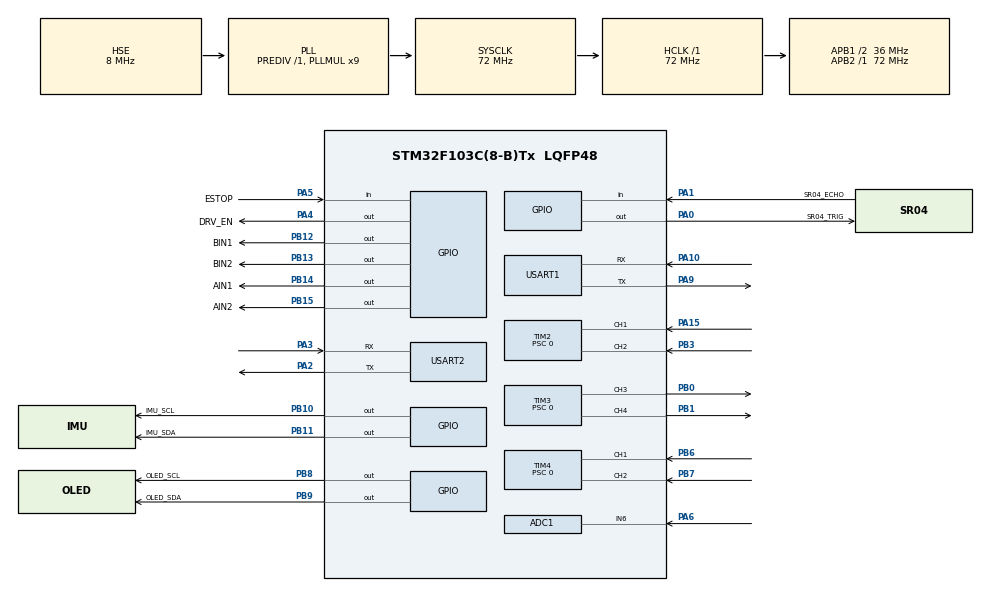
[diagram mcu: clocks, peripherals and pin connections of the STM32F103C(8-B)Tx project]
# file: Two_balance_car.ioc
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ADC1.Channel-0\#ChannelRegularConversion=ADC_CHANNEL_6
ADC1.ContinuousConvMode=DISABLE
ADC1.NbrOfConversion=1
ADC1.NbrOfConversionFlag=1
ADC1.Rank-0\#ChannelRegularConversion=1
ADC1.SamplingTime-0\#ChannelRegularConversion=ADC_SAMPLETIME_239CYCLES_5
ADC1.master=1
Dma.Request0=USART1_RX
Dma.Request1=USART1_TX
Dma.USART1_RX.0.Direction=DMA_PERIPH_TO_MEMORY
Dma.USART1_RX.0.Instance=DMA1_Channel5
Dma.USART1_RX.0.MemDataAlignment=DMA_MDATAALIGN_BYTE
Dma.USART1_RX.0.MemInc=DMA_MINC_ENABLE
Dma.USART1_RX.0.Mode=DMA_NORMAL
Dma.USART1_RX.0.PeriphDataAlignment=DMA_PDATAALIGN_BYTE
Dma.USART1_RX.0.PeriphInc=DMA_PINC_DISABLE
Dma.USART1_RX.0.Priority=DMA_PRIORITY_LOW
Dma.USART1_TX.1.Direction=DMA_MEMORY_TO_PERIPH
Dma.USART1_TX.1.Instance=DMA1_Channel4
Dma.USART1_TX.1.MemDataAlignment=DMA_MDATAALIGN_BYTE
Dma.USART1_TX.1.MemInc=DMA_MINC_ENABLE
Dma.USART1_TX.1.Mode=DMA_NORMAL
Dma.USART1_TX.1.PeriphDataAlignment=DMA_PDATAALIGN_BYTE
Dma.USART1_TX.1.PeriphInc=DMA_PINC_DISABLE
Dma.USART1_TX.1.Priority=DMA_PRIORITY_LOW
Mcu.Family=STM32F1
Mcu.Name=STM32F103C(8-B)Tx
Mcu.Package=LQFP48
NVIC.DMA1_Channel4_IRQn=true\:0\:0\:false\:false\:true\:false\:true\:true
NVIC.DMA1_Channel5_IRQn=true\:0\:0\:false\:false\:true\:false\:true\:true
NVIC.PriorityGroup=NVIC_PRIORITYGROUP_4
NVIC.TIM1_UP_IRQn=true\:1\:0\:false\:false\:true\:true\:true\:true
NVIC.USART1_IRQn=true\:3\:0\:false\:false\:true\:true\:true\:true
PA0-WKUP.GPIO_Label=SR04_TRIG
PA0-WKUP.Signal=GPIO_Output
PA1.GPIO_Label=SR04_ECHO
PA1.Signal=GPIO_Input
PA10.Mode=Asynchronous
PA10.Signal=USART1_RX
PA13.Mode=Serial_Wire
PA13.Signal=SYS_JTMS-SWDIO
PA14.Mode=Serial_Wire
PA14.Signal=SYS_JTCK-SWCLK
PA15.Signal=S_TIM2_CH1_ETR
PA2.Mode=Asynchronous
PA2.Signal=USART2_TX
PA3.Mode=Asynchronous
PA3.Signal=USART2_RX
PA4.GPIO_Label=DRV_EN
PA4.Signal=GPIO_Output
PA5.GPIO_Label=ESTOP
PA5.GPIO_PuPd=GPIO_PULLUP
PA5.Signal=GPIO_Input
PA6.Signal=ADCx_IN6
PA9.Mode=Asynchronous
PA9.Signal=USART1_TX
PB0.Signal=S_TIM3_CH3
PB1.Signal=S_TIM3_CH4
PB10.GPIO_Label=IMU_SCL
PB10.GPIO_Speed=GPIO_SPEED_FREQ_HIGH
PB10.Signal=GPIO_Output
PB11.GPIO_Label=IMU_SDA
PB11.GPIO_Speed=GPIO_SPEED_FREQ_HIGH
PB11.Signal=GPIO_Output
PB12.GPIO_Label=BIN1
PB12.GPIO_Speed=GPIO_SPEED_FREQ_HIGH
PB12.Signal=GPIO_Output
PB13.GPIO_Label=BIN2
PB13.GPIO_Speed=GPIO_SPEED_FREQ_HIGH
PB13.Signal=GPIO_Output
PB14.GPIO_Label=AIN1
PB14.GPIO_Speed=GPIO_SPEED_FREQ_HIGH
PB14.Signal=GPIO_Output
PB15.GPIO_Label=AIN2
PB15.GPIO_Speed=GPIO_SPEED_FREQ_HIGH
PB15.Signal=GPIO_Output
PB3.Signal=S_TIM2_CH2
PB6.Signal=S_TIM4_CH1
PB7.Signal=S_TIM4_CH2
PB8.GPIO_Label=OLED_SCL
PB8.GPIO_Speed=GPIO_SPEED_FREQ_HIGH
PB8.Signal=GPIO_Output
PB9.GPIO_Label=OLED_SDA
PB9.GPIO_Speed=GPIO_SPEED_FREQ_HIGH
PB9.Signal=GPIO_Output
PD0-OSC_IN.Mode=HSE-External-Oscillator
PD0-OSC_IN.Signal=RCC_OSC_IN
PD1-OSC_OUT.Mode=HSE-External-Oscillator
PD1-OSC_OUT.Signal=RCC_OSC_OUT
ProjectManager.HeapSize=0x200
ProjectManager.StackSize=0x400
ProjectManager.TargetToolchain=STM32CubeIDE
RCC.ADCPresc=RCC_ADCPCLK2_DIV6
RCC.AHBFreq_Value=72000000
RCC.APB1CLKDivider=RCC_HCLK_DIV2
RCC.APB1Freq_Value=36000000
RCC.APB1TimFreq_Value=72000000
RCC.APB2Freq_Value=72000000
RCC.APB2TimFreq_Value=72000000
RCC.HCLKFreq_Value=72000000
RCC.PLLMUL=RCC_PLL_MUL9
RCC.PLLSourceVirtual=RCC_PLLSOURCE_HSE
RCC.SYSCLKFreq_VALUE=72000000
RCC.SYSCLKSource=RCC_SYSCLKSOURCE_PLLCLK
RCC.USBFreq_Value=72000000
SH.ADCx_IN6.0=ADC1_IN6,IN6
SH.S_TIM2_CH1_ETR.0=TIM2_CH1,Encoder_Interface
SH.S_TIM2_CH2.0=TIM2_CH2,Encoder_Interface
SH.S_TIM3_CH3.0=TIM3_CH3,PWM Generation3 CH3
SH.S_TIM3_CH4.0=TIM3_CH4,PWM Generation4 CH4
SH.S_TIM4_CH1.0=TIM4_CH1,Encoder_Interface
SH.S_TIM4_CH2.0=TIM4_CH2,Encoder_Interface
TIM1.Period=49
TIM1.Prescaler=7199
TIM2.EncoderMode=TIM_ENCODERMODE_TI12
TIM2.IC1Filter=10
TIM2.IC1Polarity=TIM_ICPOLARITY_RISING
TIM2.IC2Filter=10
TIM2.IC2Polarity=TIM_ICPOLARITY_RISING
TIM2.Period=65535
TIM2.Prescaler=0
TIM3.Channel-PWM\ Generation3\ CH3=TIM_CHANNEL_3
TIM3.Channel-PWM\ Generation4\ CH4=TIM_CHANNEL_4
TIM3.Period=7199
TIM3.Prescaler=0
TIM3.Pulse-PWM\ Generation3\ CH3=0
TIM3.Pulse-PWM\ Generation4\ CH4=0
TIM4.EncoderMode=TIM_ENCODERMODE_TI12
TIM4.IC1Filter=10
TIM4.IC1Polarity=TIM_ICPOLARITY_RISING
TIM4.IC2Filter=10
TIM4.IC2Polarity=TIM_ICPOLARITY_RISING
TIM4.Period=65535
TIM4.Prescaler=0
USART1.VirtualMode=VM_ASYNC
USART2.VirtualMode=VM_ASYNC
VP_TIM1_VS_ClockSourceINT.Mode=Internal
VP_TIM3_VS_ClockSourceINT.Mode=Internal
board=custom

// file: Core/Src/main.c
/* USER CODE BEGIN Header */
/**
  ******************************************************************************
  * @file           : main.c
  * @brief          : Main program body
  ******************************************************************************
  * @attention
  *
  * Copyright (c) 2026 STMicroelectronics.
  * All rights reserved.
  *
  * This software is licensed under terms that can be found in the LICENSE file
  * in the root directory of this software component.
  * If no LICENSE file comes with this software, it is provided AS-IS.
  *
  ******************************************************************************
  */
/* USER CODE END Header */
#include "main.h"
#include "adc.h"
#include "dma.h"
#include "tim.h"
#include "usart.h"
#include "gpio.h"

/* USER CODE BEGIN Includes */
#include "app.h"
#include "board.h"
/* USER CODE END Includes */

/* USER CODE BEGIN PV */
static app_t g_app;
/* USER CODE END PV */

void SystemClock_Config(void);

int main(void)
{

  /* MCU Configuration--------------------------------------------------------*/

  /* Reset of all peripherals, Initializes the Flash interface and the Systick. */
  HAL_Init();

  /* Configure the system clock */
  SystemClock_Config();

  /* Initialize all configured peripherals */
  MX_GPIO_Init();
  MX_DMA_Init();
  MX_ADC1_Init();
  MX_TIM1_Init();
  MX_TIM2_Init();
  MX_TIM3_Init();
  MX_TIM4_Init();
  MX_USART1_UART_Init();
  MX_USART2_UART_Init();
  /* USER CODE BEGIN 2 */
  app_config_t app_config;

  if (board_build_hw_config(&app_config.hw) != HAL_OK)
  {
    Error_Handler();
  }
  if (app_logic_config_load_default(&app_config.logic) != HAL_OK)
  {
    Error_Handler();
  }

  if (app_init(&g_app, &app_config, HAL_GetTick()) != HAL_OK)
  {
    Error_Handler();
  }
  /* USER CODE END 2 */

  /* Infinite loop */
  while (1)
  {

    /* USER CODE BEGIN 3 */
    if (app_task(&g_app, HAL_GetTick()) != HAL_OK)
    {
      Error_Handler();
    }
  }
  /* USER CODE END 3 */
}

void SystemClock_Config(void)
{
  RCC_OscInitTypeDef RCC_OscInitStruct = {0};
  RCC_ClkInitTypeDef RCC_ClkInitStruct = {0};
  RCC_PeriphCLKInitTypeDef PeriphClkInit = {0};

  /** Initializes the RCC Oscillators according to the specified parameters
  * in the RCC_OscInitTypeDef structure.
  */
  RCC_OscInitStruct.OscillatorType = RCC_OSCILLATORTYPE_HSE;
  RCC_OscInitStruct.HSEState = RCC_HSE_ON;
  RCC_OscInitStruct.HSEPredivValue = RCC_HSE_PREDIV_DIV1;
  RCC_OscInitStruct.HSIState = RCC_HSI_ON;
  RCC_OscInitStruct.PLL.PLLState = RCC_PLL_ON;
  RCC_OscInitStruct.PLL.PLLSource = RCC_PLLSOURCE_HSE;
  RCC_OscInitStruct.PLL.PLLMUL = RCC_PLL_MUL9;
  if (HAL_RCC_OscConfig(&RCC_OscInitStruct) != HAL_OK)
  {
    Error_Handler();
  }

  /** Initializes the CPU, AHB and APB buses clocks
  */
  RCC_ClkInitStruct.ClockType = RCC_CLOCKTYPE_HCLK|RCC_CLOCKTYPE_SYSCLK
                              |RCC_CLOCKTYPE_PCLK1|RCC_CLOCKTYPE_PCLK2;
  RCC_ClkInitStruct.SYSCLKSource = RCC_SYSCLKSOURCE_PLLCLK;
  RCC_ClkInitStruct.AHBCLKDivider = RCC_SYSCLK_DIV1;
  RCC_ClkInitStruct.APB1CLKDivider = RCC_HCLK_DIV2;
  RCC_ClkInitStruct.APB2CLKDivider = RCC_HCLK_DIV1;

  if (HAL_RCC_ClockConfig(&RCC_ClkInitStruct, FLASH_LATENCY_2) != HAL_OK)
  {
    Error_Handler();
  }
  PeriphClkInit.PeriphClockSelection = RCC_PERIPHCLK_ADC;
  PeriphClkInit.AdcClockSelection = RCC_ADCPCLK2_DIV6;
  if (HAL_RCCEx_PeriphCLKConfig(&PeriphClkInit) != HAL_OK)
  {
    Error_Handler();
  }
}

/* USER CODE BEGIN 4 */
void HAL_UART_RxCpltCallback(UART_HandleTypeDef *huart)
{
  if (app_on_uart_rx_cplt(&g_app, huart) != HAL_OK)
  {
    Error_Handler();
  }
}

void HAL_UART_ErrorCallback(UART_HandleTypeDef *huart)
{
  if (app_on_uart_error(&g_app, huart) != HAL_OK)
  {
    Error_Handler();
  }
}

/* USER CODE END 4 */

void Error_Handler(void)
{
  __disable_irq();
  while (1)
  {
  }
}
